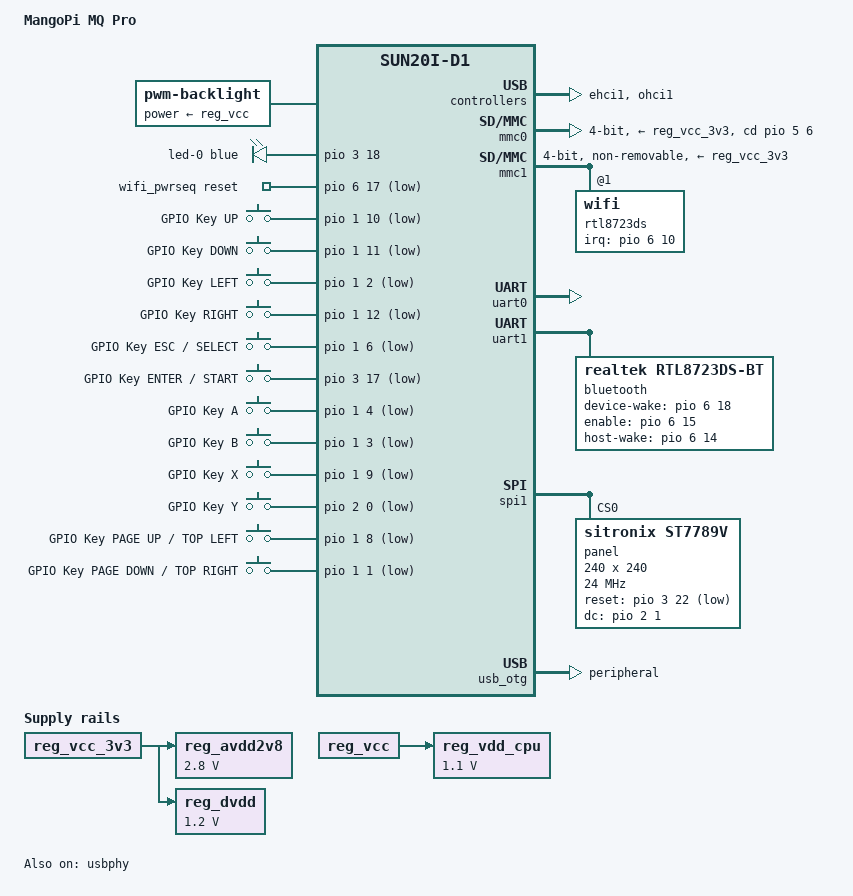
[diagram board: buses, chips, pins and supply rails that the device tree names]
// SPDX-License-Identifier: (GPL-2.0+ or MIT)
// Copyright (C) 2022 Samuel Holland <samuel@sholland.org>

#include <dt-bindings/gpio/gpio.h>
#include <dt-bindings/leds/common.h>

/dts-v1/;

#include "sun20i-d1.dtsi"
#include "sun20i-common-regulators.dtsi"

/ {
	model = "MangoPi MQ Pro";
	compatible = "widora,mangopi-mq-pro", "allwinner,sun20i-d1";

	aliases {
		ethernet0 = &rtl8723ds;
		serial0 = &uart0;
	};

	backlight: backlight {
		compatible = "pwm-backlight";
		power-supply = <&reg_vcc>;
		// pwms = <&pwm 7 50000 0>;
	};

	leds {
		compatible = "gpio-leds";

		led-0 {
			color = <LED_COLOR_ID_BLUE>;
			function = LED_FUNCTION_STATUS;
			gpios = <&pio 3 18 GPIO_ACTIVE_HIGH>; /* PD18 */
		};
	};

	reg_avdd2v8: avdd2v8 {
		compatible = "regulator-fixed";
		regulator-name = "avdd2v8";
		regulator-min-microvolt = <2800000>;
		regulator-max-microvolt = <2800000>;
		vin-supply = <&reg_vcc_3v3>;
	};

	reg_dvdd: dvdd {
		compatible = "regulator-fixed";
		regulator-name = "dvdd";
		regulator-min-microvolt = <1200000>;
		regulator-max-microvolt = <1200000>;
		vin-supply = <&reg_vcc_3v3>;
	};

	reg_vdd_cpu: vdd-cpu {
		compatible = "regulator-fixed";
		regulator-name = "vdd-cpu";
		regulator-min-microvolt = <1100000>;
		regulator-max-microvolt = <1100000>;
		vin-supply = <&reg_vcc>;
	};

	wifi_pwrseq: wifi-pwrseq {
		compatible = "mmc-pwrseq-simple";
		reset-gpios = <&pio 6 17 GPIO_ACTIVE_LOW>; /* PG17 */
	};

  // see https://gist.github.com/rickyzhang82/8581a762c9f9fc6ddb8390872552c250
  // for key code table (fbcon)
	gpio-keys {
			compatible = "gpio-keys";
			autorepeat;

			up {
					label = "GPIO Key UP";
					linux,code = <103>;
					gpios = <&pio 1 10 GPIO_ACTIVE_LOW>;
			};

			down {
					label = "GPIO Key DOWN";
					linux,code = <108>;
					gpios = <&pio 1 11 GPIO_ACTIVE_LOW>;
			};

      left {
          label = "GPIO Key LEFT";
          linux,code = <105>;
					gpios = <&pio 1 2 GPIO_ACTIVE_LOW>;
      };

      right {
          label = "GPIO Key RIGHT";
          linux,code = <106>;
					gpios = <&pio 1 12 GPIO_ACTIVE_LOW>;
      };

      select {
          label = "GPIO Key ESC / SELECT";
          linux,code = <1>;
					gpios = <&pio 1 6 GPIO_ACTIVE_LOW>;
      };

      start {
          label = "GPIO Key ENTER / START";
          linux,code = <28>;
					gpios = <&pio 3 17 GPIO_ACTIVE_LOW>;
      };

      a {
          label = "GPIO Key A";
          linux,code = <30>;
					gpios = <&pio 1 4 GPIO_ACTIVE_LOW>;
      };

      b {
          label = "GPIO Key B";
          linux,code = <48>;
					gpios = <&pio 1 3 GPIO_ACTIVE_LOW>;
      };

      x {
          label = "GPIO Key X";
          linux,code = <45>;
					gpios = <&pio 1 9 GPIO_ACTIVE_LOW>;
      };

      y {
          label = "GPIO Key Y";
          linux,code = <21>;
					gpios = <&pio 2 0 GPIO_ACTIVE_LOW>;
      };

      topleft {
          label = "GPIO Key PAGE UP / TOP LEFT";
          linux,code = <104>;
					gpios = <&pio 1 8 GPIO_ACTIVE_LOW>;
      };

      topright {
          label = "GPIO Key PAGE DOWN / TOP RIGHT";
          linux,code = <109>;
					gpios = <&pio 1 1 GPIO_ACTIVE_LOW>;
      };
  };

  /*
	spi-gpio {
		compatible = "spi-gpio";
		cs-gpios = <&pio 3 10 GPIO_ACTIVE_LOW>; // PD10
		mosi-gpios = <&pio 3 12 GPIO_ACTIVE_HIGH>; // PD12
		sck-gpios = <&pio 3 11 GPIO_ACTIVE_HIGH>; // PD11
		num-chipselects = <1>;
		#address-cells = <1>;
		#size-cells = <0>;

		panel@0 {
			compatible = "sitronix,st7789v";
			reg = <0>;
			backlight = <&backlight>;
			reset-gpios = <&pio 3 14 GPIO_ACTIVE_LOW>; // PD14
			spi-3wire;
      width = <240>;
      height = <240>;
      txbuflen = <32768>;
      // from d1-lichee-rv-86-panel.dts
      // port {
      //   panel_in_tcon_lcd0: endpoint {
      //     remote-endpoint = <&tcon_lcd0_out_panel>;
      //   };
      // };
		};
	};
  */
};

&cpu0 {
	cpu-supply = <&reg_vdd_cpu>;
};

&dcxo {
	clock-frequency = <24000000>;
};

&ehci1 {
	status = "okay";
};

&mmc0 {
	bus-width = <4>;
	cd-gpios = <&pio 5 6 GPIO_ACTIVE_HIGH>; /* PF6 */
	disable-wp;
	vmmc-supply = <&reg_vcc_3v3>;
	vqmmc-supply = <&reg_vcc_3v3>;
	pinctrl-0 = <&mmc0_pins>;
	pinctrl-names = "default";
	status = "okay";
};

&mmc1 {
	bus-width = <4>;
	mmc-pwrseq = <&wifi_pwrseq>;
	non-removable;
	vmmc-supply = <&reg_vcc_3v3>;
	vqmmc-supply = <&reg_vcc_3v3>;
	pinctrl-0 = <&mmc1_pins>;
	pinctrl-names = "default";
	status = "okay";

	rtl8723ds: wifi@1 {
		reg = <1>;
		interrupt-parent = <&pio>;
		interrupts = <6 10 IRQ_TYPE_LEVEL_LOW>; /* PG10 */
		interrupt-names = "host-wake";
	};
};

&ohci1 {
	status = "okay";
};

&pio {
	vcc-pe-supply = <&reg_avdd2v8>;
};

&uart0 {
	pinctrl-0 = <&uart0_pb8_pins>;
	pinctrl-names = "default";
	status = "okay";
};

&uart1 {
	uart-has-rtscts;
	pinctrl-0 = <&uart1_pg6_pins>, <&uart1_pg8_rts_cts_pins>;
	pinctrl-names = "default";
	status = "okay";

	bluetooth {
		compatible = "realtek,rtl8723ds-bt";
		device-wake-gpios = <&pio 6 18 GPIO_ACTIVE_HIGH>; /* PG18 */
		enable-gpios = <&pio 6 15 GPIO_ACTIVE_HIGH>; /* PG15 */
		host-wake-gpios = <&pio 6 14 GPIO_ACTIVE_HIGH>; /* PG14 */
	};
};

&spi1 {
  pinctrl-0 = <&spi1_pd_pins>;
  pinctrl-names = "default";
  status = "okay";
  num-cs = <1>;

  panel@0 {
    compatible = "sitronix,st7789v";
    buswidth = <0x8>;
    reg = <0>;
    reset-gpios = <&pio 3 22 GPIO_ACTIVE_LOW>; /* PD22 */
    dc-gpios = <&pio 2 1 GPIO_ACTIVE_HIGH>; /* PC1 */
    spi-max-frequency = <24000000>;
    width = <240>;
    height = <240>;
    txbuflen = <32768>;
    spi-cpol;
    spi-cpha;
    rotate = <180>;
    fps = <25>;
    status = "okay";
  };
};

&usb_otg {
	dr_mode = "peripheral";
	status = "okay";
};

&usbphy {
	usb1_vbus-supply = <&reg_vcc>;
	status = "okay";
};
